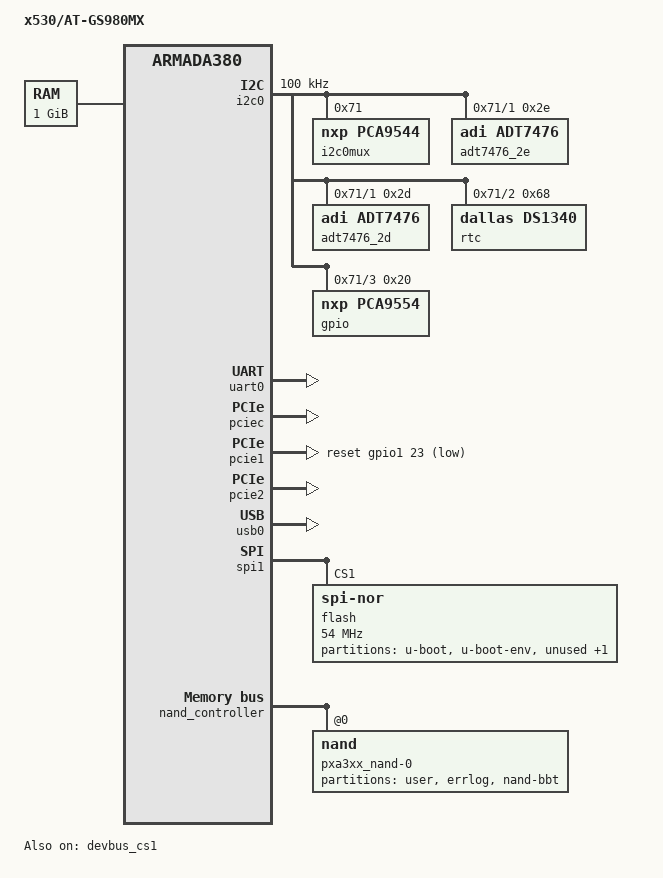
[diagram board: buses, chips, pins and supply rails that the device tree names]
// SPDX-License-Identifier: (GPL-2.0 OR MIT)
/*
 * Device Tree file for Armada 385 Allied Telesis x530/GS980MX Board.
 (x530/AT-GS980MX)
 *
 Copyright (C) 2020 Allied Telesis Labs
 */

/dts-v1/;
#include "armada-385.dtsi"

#include <dt-bindings/gpio/gpio.h>

/ {
	model = "x530/AT-GS980MX";
	compatible = "alliedtelesis,gs980mx", "alliedtelesis,x530", "marvell,armada385", "marvell,armada380";

	chosen {
		stdout-path = "serial1:115200n8";
	};

	memory {
		device_type = "memory";
		reg = <0x00000000 0x40000000>; /* 1GB */
	};

	soc {
		ranges = <MBUS_ID(0xf0, 0x01) 0 0xf1000000 0x100000
			  MBUS_ID(0x01, 0x3d) 0 0xf4800000 0x80000
			  MBUS_ID(0x01, 0x1d) 0 0xfff00000 0x100000>;

		internal-regs {
			i2c0: i2c@11000 {
				pinctrl-names = "default";
				pinctrl-0 = <&i2c0_pins>;
				status = "okay";
			};

			uart0: serial@12000 {
				pinctrl-names = "default";
				pinctrl-0 = <&uart0_pins>;
				status = "okay";
			};
		};
	};
};

&pciec {
	status = "okay";
};

&pcie1 {
	status = "okay";
	reset-gpios = <&gpio1 23 GPIO_ACTIVE_LOW>;
	reset-delay-us = <400000>;
};

&pcie2 {
	status = "okay";
};

&devbus_cs1 {
	compatible = "marvell,mvebu-devbus";
	status = "okay";

	devbus,bus-width    = <8>;
	devbus,turn-off-ps  = <60000>;
	devbus,badr-skew-ps = <0>;
	devbus,acc-first-ps = <124000>;
	devbus,acc-next-ps  = <248000>;
	devbus,rd-setup-ps  = <0>;
	devbus,rd-hold-ps   = <0>;

	/* Write parameters */
	devbus,sync-enable = <0>;
	devbus,wr-high-ps  = <60000>;
	devbus,wr-low-ps   = <60000>;
	devbus,ale-wr-ps   = <60000>;

	nvs@0 {
		status = "okay";

		compatible = "mtd-ram";
		reg = <0 0x00080000>;
		bank-width = <1>;
		label = "nvs";
	};
};

&pinctrl {
	i2c0_gpio_pins: i2c-gpio-pins-0 {
		marvell,pins = "mpp2", "mpp3";
		marvell,function = "gpio";
	};
};

&i2c0 {
	clock-frequency = <100000>;
	status = "okay";

	pinctrl-names = "default", "gpio";
	pinctrl-0 = <&i2c0_pins>;
	pinctrl-1 = <&i2c0_gpio_pins>;
	scl-gpio = <&gpio0 2 (GPIO_ACTIVE_HIGH|GPIO_OPEN_DRAIN)>;
	sda-gpio = <&gpio0 3 (GPIO_ACTIVE_HIGH|GPIO_OPEN_DRAIN)>;

	i2c0mux: mux@71 {
		#address-cells = <1>;
		#size-cells = <0>;
		compatible = "nxp,pca9544";
		reg = <0x71>;
		i2c-mux-idle-disconnect;

		i2c@0 { /* POE devices MUX */
			#address-cells = <1>;
			#size-cells = <0>;
			reg = <0>;
		};

		i2c@1 {
			#address-cells = <1>;
			#size-cells = <0>;
			reg = <1>;

			adt7476_2e: hwmon@2e {
				compatible = "adi,adt7476";
				reg = <0x2e>;
			};

			adt7476_2d: hwmon@2d {
				compatible = "adi,adt7476";
				reg = <0x2d>;
			};
		};

		i2c@2 {
			#address-cells = <1>;
			#size-cells = <0>;
			reg = <2>;

			rtc@68 {
				compatible = "dallas,ds1340";
				reg = <0x68>;
			};
		};

		i2c@3 {
			#address-cells = <1>;
			#size-cells = <0>;
			reg = <3>;

			gpio@20 {
				compatible = "nxp,pca9554";
				gpio-controller;
				#gpio-cells = <2>;
				reg = <0x20>;
			};
		};
	};
};

&usb0 {
	status = "okay";
};

&spi1 {
	pinctrl-names = "default";
	pinctrl-0 = <&spi1_pins>;
	status = "okay";

	flash@1 {
		#address-cells = <1>;
		#size-cells = <1>;
		compatible = "jedec,spi-nor";
		reg = <1>; /* Chip select 1 */
		spi-max-frequency = <54000000>;

		partitions {
			compatible = "fixed-partitions";
			#address-cells = <1>;
			#size-cells = <1>;
			partition@0 {
				reg = <0x00000000 0x00100000>;
				label = "u-boot";
			};
			partition@100000 {
				reg = <0x00100000 0x00040000>;
				label = "u-boot-env";
			};
			partition@140000 {
				reg = <0x00140000 0x00e80000>;
				label = "unused";
			};
			partition@fc0000 {
				reg = <0x00fc0000 0x00040000>;
				label = "idprom";
			};
		};
	};
};

&nand_controller {
	status = "okay";

	nand@0 {
		reg = <0>;
		label = "pxa3xx_nand-0";
		nand-rb = <0>;
		nand-on-flash-bbt;
		nand-ecc-strength = <4>;
		nand-ecc-step-size = <512>;

		marvell,nand-enable-arbiter;

		partitions {
			compatible = "fixed-partitions";
			#address-cells = <1>;
			#size-cells = <1>;
			partition@0 {
				reg = <0x00000000 0x0f000000>;
				label = "user";
			};
			partition@f000000 {
				/* Maximum mtdoops size is 8MB, so set to that. */
				reg = <0x0f000000 0x00800000>;
				label = "errlog";
			};
			partition@f800000 {
				reg = <0x0f800000 0x00800000>;
				label = "nand-bbt";
			};
		};
	};
};

